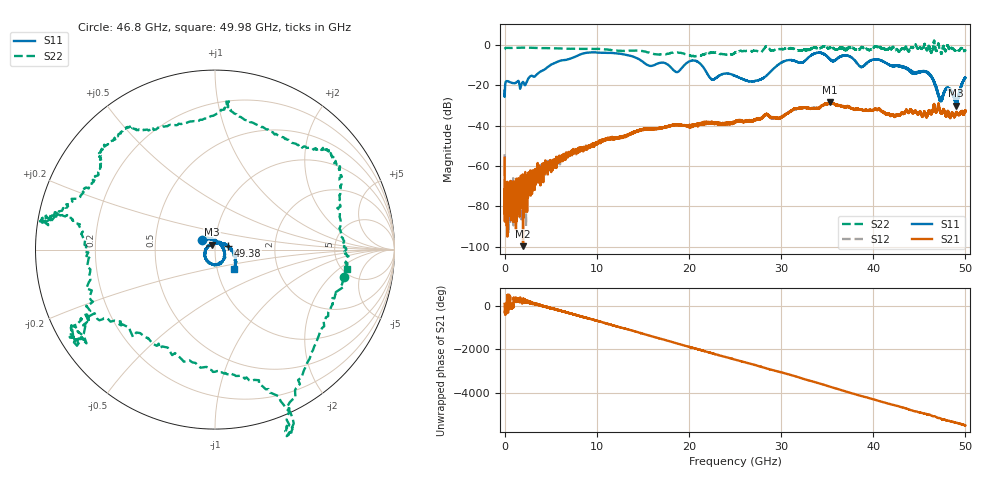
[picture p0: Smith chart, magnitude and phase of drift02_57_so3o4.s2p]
!Created with skrf (http://scikit-rf.org).
# Hz S RI R 50.0
!freq ReS11 ImS11 ReS21 ImS21 ReS12 ImS12 ReS22 ImS22
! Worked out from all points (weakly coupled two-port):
!   10001 points, 300 kHz to 50 GHz, reference 50 ohm
!   highest |S21| = -28.50 dB at 35.34 GHz (marker M1); lowest = -99.8 dB at 2 GHz (marker M2)
!   lowest |S11| = -30.0 dB at 48.97 GHz (marker M3), VSWR 1.07, Z = 48.3 + j2.58 ohm
!   |S11| at or under -10 dB: start of sweep to 4.956 GHz; 21.38 GHz to 29.63 GHz (8.251 GHz wide, 32.4 % of centre); 41.87 GHz to end of sweep (the widest 3 of 12)
!   |S22| runs from -5.7 to 2.2 dB; largest |S21 - S12| = 0.0033
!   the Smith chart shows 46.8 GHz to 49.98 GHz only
!   S11 on the Smith chart (normalised r, x): 46.8 GHz: 0.86, +0.09; 49.38 GHz: 1.15, +0.05; 49.98 GHz: 1.21, -0.26
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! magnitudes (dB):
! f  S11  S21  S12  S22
! 300 kHz  -22.6  -56.0  -54.2  -2.1
! 255.3 MHz  -17.9  -71.4  -78.3  -1.4
! 2 GHz  -18.4  -99.8  -79.5  -1.3
! 3.68 GHz  -13.9  -64.1  -62.8  -1.5
! 8.335 GHz  -4.5  -51.2  -51.1  -1.9
! 16.67 GHz  -9.1  -41.3  -41.5  -4.7
! 18.7 GHz  -13.5  -39.5  -39.6  -3.7
! 20.6 GHz  -7.7  -39.7  -39.6  -5.7
! 22.51 GHz  -17.2  -38.2  -38.5  -3.7
! 25 GHz  -15.2  -37.9  -38.3  -3.9
! 27.46 GHz  -17.6  -36.9  -36.8  -3.1
! 33.34 GHz  -4.9  -31.4  -31.3  -1.6
! 35.34 GHz  -7.2  -28.5  -28.8  -1.3
! 41.67 GHz  -9.6  -34.1  -34.2  -2.0
! 45.78 GHz  -13.4  -36.0  -35.7  -2.0
! 46.8 GHz  -20.7  -33.2  -33.2  -2.7
! 47.28 GHz  -27.2  -33.0  -32.8  -3.3
! 48.14 GHz  -21.3  -32.7  -33.2  -0.8
! 48.97 GHz  -30.0  -34.4  -34.0  -2.5
! 49.38 GHz  -22.4  -34.3  -34.5  -2.6
! 49.98 GHz  -16.4  -32.5  -32.5  -2.6
! 50 GHz  -16.3  -32.5  -32.9  -2.6
